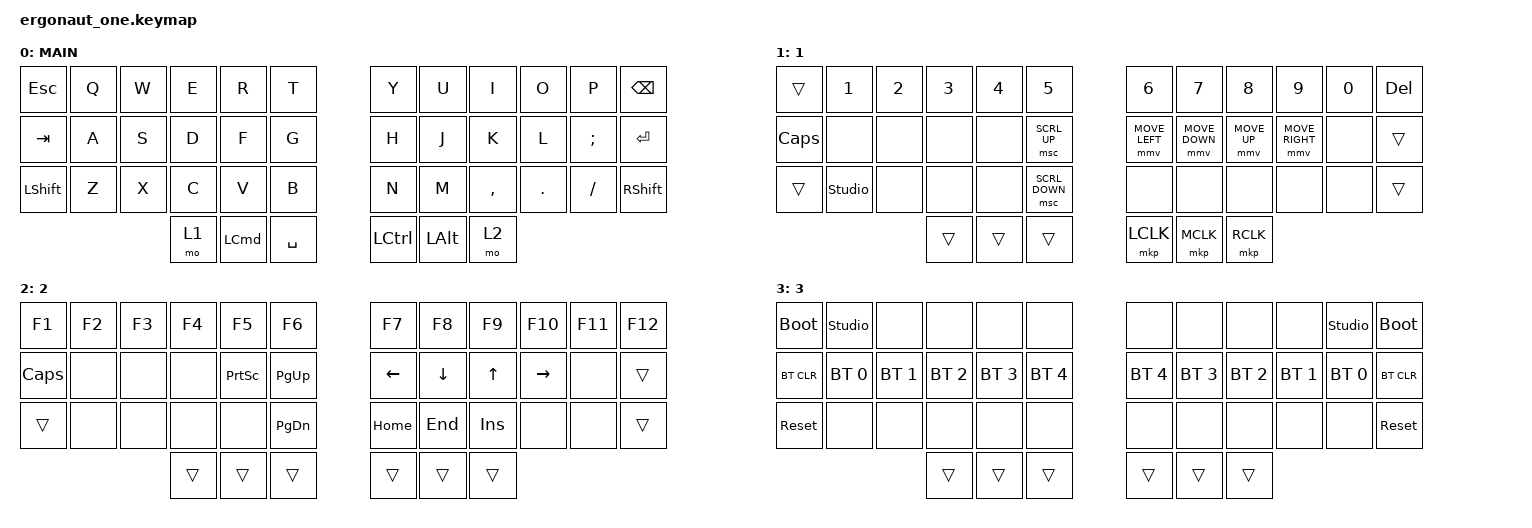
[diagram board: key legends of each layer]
#include <behaviors.dtsi>
#include <dt-bindings/zmk/bt.h>
#include <dt-bindings/zmk/keys.h>
#include <dt-bindings/zmk/pointing.h>

#define DEF 0
#define LWR 1
#define RSE 2
#define ADJ 3

&lt { quick-tap-ms = <200>; };

&mt { quick-tap-ms = <200>; };

/ {
    conditional_layers {
        compatible = "zmk,conditional-layers";

        tri-layer {
            if-layers = <1 2>;
            then-layer = <3>;
        };
    };

    combos {
        compatible = "zmk,combos";

        l1 {
            bindings = <&kp LEFT_BRACKET>;
            key-positions = <5 4>;
        };

        l2 {
            bindings = <&kp LEFT_PARENTHESIS>;
            key-positions = <16 17>;
        };

        l3 {
            bindings = <&kp LEFT_BRACE>;
            key-positions = <28 29>;
        };

        r1 {
            bindings = <&kp RIGHT_BRACKET>;
            key-positions = <6 7>;
        };

        r2 {
            bindings = <&kp RIGHT_PARENTHESIS>;
            key-positions = <18 19>;
        };

        r3 {
            bindings = <&kp RIGHT_BRACE>;
            key-positions = <30 31>;
        };

        r5 {
            bindings = <&kp MINUS>;
            key-positions = <19 20>;
        };

        r6 {
            bindings = <&kp EQUAL>;
            key-positions = <31 32>;
        };

        r7 {
            bindings = <&kp BACKSLASH>;
            key-positions = <8 9>;
        };

        r8 {
            bindings = <&kp SQT>;
            key-positions = <20 21>;
        };

        l5 {
            bindings = <&kp GRAVE>;
            key-positions = <15 16>;
        };
    };

    keymap {
        compatible = "zmk,keymap";

        default_layer {
            display-name = "MAIN";
            bindings = <
&kp ESCAPE      &kp Q  &kp W  &kp E  &kp R     &kp T      &kp Y      &kp U         &kp I      &kp O    &kp P     &kp BACKSPACE
&kp TAB         &kp A  &kp S  &kp D  &kp F     &kp G      &kp H      &kp J         &kp K      &kp L    &kp SEMI  &kp ENTER
&kp LEFT_SHIFT  &kp Z  &kp X  &kp C  &kp V     &kp B      &kp N      &kp M         &kp COMMA  &kp DOT  &kp FSLH  &kp RIGHT_SHIFT
                              &mo 1  &kp LCMD  &kp SPACE  &kp LCTRL  &kp LEFT_ALT  &mo 2
            >;
        };

        lower_layer {
            display-name = "1";
            bindings = <
&trans        &kp NUMBER_1    &kp NUMBER_2  &kp NUMBER_3  &kp NUMBER_4  &kp NUMBER_5    &kp NUMBER_6    &kp NUMBER_7    &kp NUMBER_8  &kp NUMBER_9     &kp NUMBER_0  &kp DELETE
&kp CAPSLOCK  &none           &none         &none         &none         &msc SCRL_UP    &mmv MOVE_LEFT  &mmv MOVE_DOWN  &mmv MOVE_UP  &mmv MOVE_RIGHT  &none         &trans
&trans        &studio_unlock  &none         &none         &none         &msc SCRL_DOWN  &none           &none           &none         &none            &none         &trans
                                            &trans        &trans        &trans          &mkp LCLK       &mkp MCLK       &mkp RCLK
            >;
        };

        raise_layer {
            display-name = "2";
            bindings = <
&kp F1        &kp F2  &kp F3  &kp F4  &kp F5           &kp F6     &kp F7    &kp F8    &kp F9   &kp F10    &kp F11  &kp F12
&kp CAPSLOCK  &none   &none   &none   &kp PRINTSCREEN  &kp PG_UP  &kp LEFT  &kp DOWN  &kp UP   &kp RIGHT  &none    &trans
&trans        &none   &none   &none   &none            &kp PG_DN  &kp HOME  &kp END   &kp INS  &none      &none    &trans
                              &trans  &trans           &trans     &trans    &trans    &trans
            >;
        };

        adjust_layer {
            display-name = "3";
            bindings = <
&bootloader  &studio_unlock  &none         &none         &none         &none         &none         &none         &none         &none         &studio_unlock  &bootloader
&bt BT_CLR   &bt BT_SEL 0    &bt BT_SEL 1  &bt BT_SEL 2  &bt BT_SEL 3  &bt BT_SEL 4  &bt BT_SEL 4  &bt BT_SEL 3  &bt BT_SEL 2  &bt BT_SEL 1  &bt BT_SEL 0    &bt BT_CLR
&sys_reset   &none           &none         &none         &none         &none         &none         &none         &none         &none         &none           &sys_reset
                                           &trans        &trans        &trans        &trans        &trans        &trans
            >;
        };
    };
};
